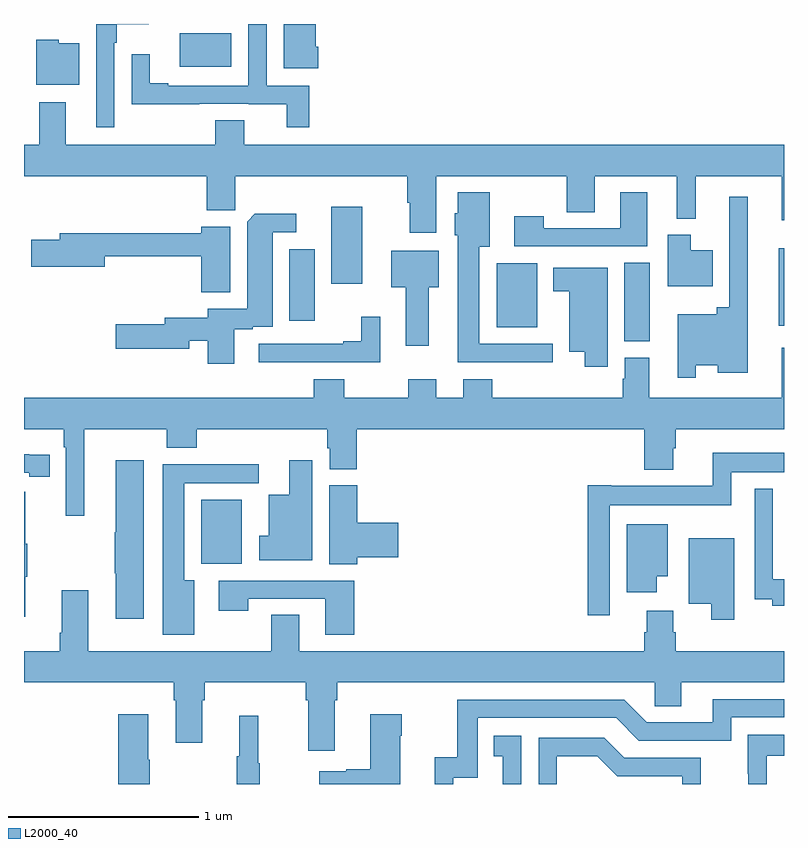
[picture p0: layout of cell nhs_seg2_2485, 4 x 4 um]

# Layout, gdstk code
import gdstk
lib = gdstk.Library(unit=1e-6, precision=1e-09)
def R(c, l, rs):  # rectangles x0, y0, x1, y1
    for r in rs: c.add(gdstk.rectangle(r[:2], r[2:], *l))
def P(c, l, *ps):  # polygons
    for p in ps: c.add(gdstk.Polygon(p, *l))
L2000_40 = (2000, 40)

nhs_seg2_2485 = lib.new_cell('nhs_seg2_2485')
R(nhs_seg2_2485, L2000_40, [(241.934,614.96,242.146,615.295), (244.16,616.129,244.294,616.544), (243.488,616.205,243.7,616.54), (244.973,616.211,245,616.621), (242.396,616.239,242.53,616.615), (242.618,616.434,242.779,616.837), (241.82,617.576,242.092,617.752)])
P(nhs_seg2_2485, L2000_40, [(241.476,617.702),(241.489,617.702),(241.489,617.798),(241.657,617.798),(241.657,617.8),(241.38,617.8),(241.38,617.256),(241.476,617.256)],
  [(242.501,617.475),(242.277,617.475),(242.277,617.8),(242.181,617.8),(242.181,617.475),(241.759,617.475),(241.759,617.488),(241.663,617.488),(241.663,617.641),(241.566,617.641),(241.566,617.378),(241.922,617.378),(241.922,617.379),(242.184,617.379),(242.184,617.378),(242.383,617.378),(242.383,617.256),(242.501,617.256)],
  [(242.549,617.68),(242.536,617.68),(242.536,617.8),(242.366,617.8),(242.366,617.568),(242.549,617.568)],
  [(241.291,617.698),(241.182,617.698),(241.182,617.716),(241.064,617.716),(241.064,617.48),(241.291,617.48)],
  [(243.169,617),(243.856,617),(243.856,616.81),(244.003,616.81),(244.003,617),(244.436,617),(244.436,616.775),(244.535,616.775),(244.535,617),(244.988,617),(244.988,616.767),(245,616.767),(245,617.164),(242.158,617.164),(242.158,617.294),(242.006,617.294),(242.006,617.164),(241.219,617.164),(241.219,617.389),(241.079,617.389),(241.079,617.164),(241,617.164),(241,617),(241.961,617),(241.961,616.819),(242.111,616.819),(242.111,617),(243.017,617),(243.017,616.859),(243.029,616.859),(243.029,616.701),(243.169,616.701)],
  [(243.784,616.116),(243.397,616.116),(243.397,616.628),(243.451,616.628),(243.451,616.915),(243.284,616.915),(243.284,616.803),(243.266,616.803),(243.266,616.689),(243.284,616.689),(243.284,616.019),(243.784,616.019)],
  [(244.279,616.915),(244.139,616.915),(244.139,616.725),(243.735,616.725),(243.735,616.789),(243.579,616.789),(243.579,616.629),(244.279,616.629)],
  [(244.536,616.004),(244.652,616.004),(244.652,615.965),(244.81,615.965),(244.81,616.891),(244.713,616.891),(244.713,616.309),(244.645,616.309),(244.645,616.273),(244.44,616.273),(244.44,615.939),(244.536,615.939)],
  [(242.107,616.194),(242.204,616.194),(242.204,616.206),(242.308,616.206),(242.308,616.704),(242.434,616.704),(242.434,616.802),(242.215,616.802),(242.174,616.76),(242.174,616.302),(241.967,616.302),(241.967,616.255),(241.742,616.255),(241.742,616.221),(241.482,616.221),(241.482,616.091),(241.87,616.091),(241.87,616.134),(241.967,616.134),(241.967,616.011),(242.107,616.011)],
  [(242.086,616.734),(241.934,616.734),(241.934,616.699),(241.187,616.699),(241.187,616.665),(241.038,616.665),(241.038,616.523),(241.426,616.523),(241.426,616.578),(241.934,616.578),(241.934,616.387),(242.086,616.387)],
  [(244.624,616.609),(244.51,616.609),(244.51,616.69),(244.388,616.69),(244.388,616.421),(244.624,616.421)],
  [(243.13,616.415),(243.184,616.415),(243.184,616.606),(242.933,616.606),(242.933,616.415),(243.008,616.415),(243.008,616.107),(243.13,616.107)],
  [(244.072,616.516),(243.785,616.516),(243.785,616.394),(243.869,616.394),(243.869,616.076),(243.95,616.076),(243.95,615.996),(244.072,615.996)],
  [(242.875,616.258),(242.776,616.258),(242.776,616.129),(242.681,616.129),(242.681,616.116),(242.235,616.116),(242.235,616.02),(242.875,616.02)],
  [(242.525,615.832),(241,615.832),(241,615.668),(241.208,615.668),(241.208,615.572),(241.221,615.572),(241.221,615.213),(241.318,615.213),(241.318,615.668),(241.75,615.668),(241.75,615.569),(241.91,615.569),(241.91,615.668),(242.597,615.668),(242.597,615.567),(242.609,615.567),(242.609,615.457),(242.75,615.457),(242.75,615.668),(244.265,615.668),(244.265,615.455),(244.417,615.455),(244.417,615.567),(244.43,615.567),(244.43,615.668),(245,615.668),(245,616.096),(244.988,616.096),(244.988,615.832),(244.291,615.832),(244.291,616.044),(244.163,616.044),(244.163,615.933),(244.151,615.933),(244.151,615.832),(243.464,615.832),(243.464,615.931),(243.311,615.931),(243.311,615.832),(243.169,615.832),(243.169,615.931),(243.022,615.931),(243.022,615.832),(242.685,615.832),(242.685,615.931),(242.525,615.931)],
  [(244.083,615.266),(244.722,615.266),(244.722,615.44),(245,615.44),(245,615.544),(244.625,615.544),(244.625,615.37),(244.09,615.37),(244.09,615.373),(243.967,615.373),(243.967,614.688),(244.083,614.688)],
  [(241.136,615.534),(241.028,615.534),(241.028,615.535),(241,615.535),(241,615.438),(241.028,615.438),(241.028,615.418),(241.136,615.418)],
  [(242.518,615.505),(242.396,615.505),(242.396,615.322),(242.288,615.322),(242.288,615.106),(242.237,615.106),(242.237,614.978),(242.518,614.978)],
  [(241.63,615.505),(241.484,615.505),(241.484,615.125),(241.477,615.125),(241.477,614.908),(241.484,614.908),(241.484,614.67),(241.63,614.67)],
  [(241.897,614.872),(241.843,614.872),(241.843,615.384),(242.236,615.384),(242.236,615.482),(241.73,615.482),(241.73,614.586),(241.897,614.586)],
  [(242.753,614.993),(242.971,614.993),(242.971,615.176),(242.753,615.176),(242.753,615.372),(242.606,615.372),(242.606,614.956),(242.753,614.956)],
  [(245,614.878),(244.941,614.878),(244.941,615.355),(244.845,615.355),(244.845,614.772),(244.937,614.772),(244.937,614.738),(245,614.738)],
  [(241.007,614.891),(241.018,614.891),(241.018,615.065),(241.007,615.065),(241.007,615.337),(241,615.337),(241,614.679),(241.007,614.679)],
  [(244.33,614.894),(244.387,614.894),(244.387,615.166),(244.172,615.166),(244.172,614.808),(244.33,614.808)],
  [(244.738,615.094),(244.499,615.094),(244.499,614.75),(244.616,614.75),(244.616,614.664),(244.738,614.664)],
  [(242.738,614.871),(242.025,614.871),(242.025,614.712),(242.181,614.712),(242.181,614.775),(242.585,614.775),(242.585,614.586),(242.738,614.586)],
  [(242.635,614.24),(242.648,614.24),(242.648,614.336),(244.32,614.336),(244.32,614.209),(244.459,614.209),(244.459,614.336),(245,614.336),(245,614.5),(244.43,614.5),(244.43,614.598),(244.417,614.598),(244.417,614.713),(244.277,614.713),(244.277,614.598),(244.265,614.598),(244.265,614.5),(242.449,614.5),(242.449,614.69),(242.302,614.69),(242.302,614.5),(241.339,614.5),(241.339,614.821),(241.199,614.821),(241.199,614.596),(241.187,614.596),(241.187,614.5),(241,614.5),(241,614.336),(241.787,614.336),(241.787,614.24),(241.799,614.24),(241.799,614.016),(241.939,614.016),(241.939,614.24),(241.952,614.24),(241.952,614.336),(242.483,614.336),(242.483,614.24),(242.495,614.24),(242.495,613.974),(242.635,613.974)],
  [(243.258,613.833),(243.387,613.833),(243.387,614.148),(244.116,614.148),(244.236,614.028),(244.722,614.028),(244.722,614.151),(245,614.151),(245,614.247),(244.625,614.247),(244.625,614.124),(244.278,614.124),(244.158,614.244),(243.279,614.244),(243.279,613.942),(243.161,613.942),(243.161,613.8),(243.258,613.8)],
  [(242.98,614.054),(242.988,614.054),(242.988,614.167),(242.822,614.167),(242.822,613.877),(242.696,613.877),(242.696,613.867),(242.553,613.867),(242.553,613.8),(242.98,613.8)],
  [(241.662,613.928),(241.654,613.928),(241.654,614.167),(241.496,614.167),(241.496,613.8),(241.662,613.8)],
  [(242.242,613.908),(242.234,613.908),(242.234,614.158),(242.132,614.158),(242.132,613.945),(242.121,613.945),(242.121,613.8),(242.242,613.8)],
  [(244.91,613.949),(245,613.949),(245,614.059),(244.81,614.059),(244.81,613.853),(244.811,613.853),(244.811,613.8),(244.91,613.8)],
  [(243.618,614.053),(243.472,614.053),(243.472,613.947),(243.521,613.947),(243.521,613.8),(243.618,613.8)],
  [(243.804,613.946),(244.018,613.946),(244.122,613.842),(244.464,613.842),(244.464,613.8),(244.563,613.8),(244.563,613.938),(244.159,613.938),(244.054,614.043),(243.708,614.043),(243.708,613.8),(243.804,613.8)])

lib.write_gds('nhs_seg2_2485.gds')
